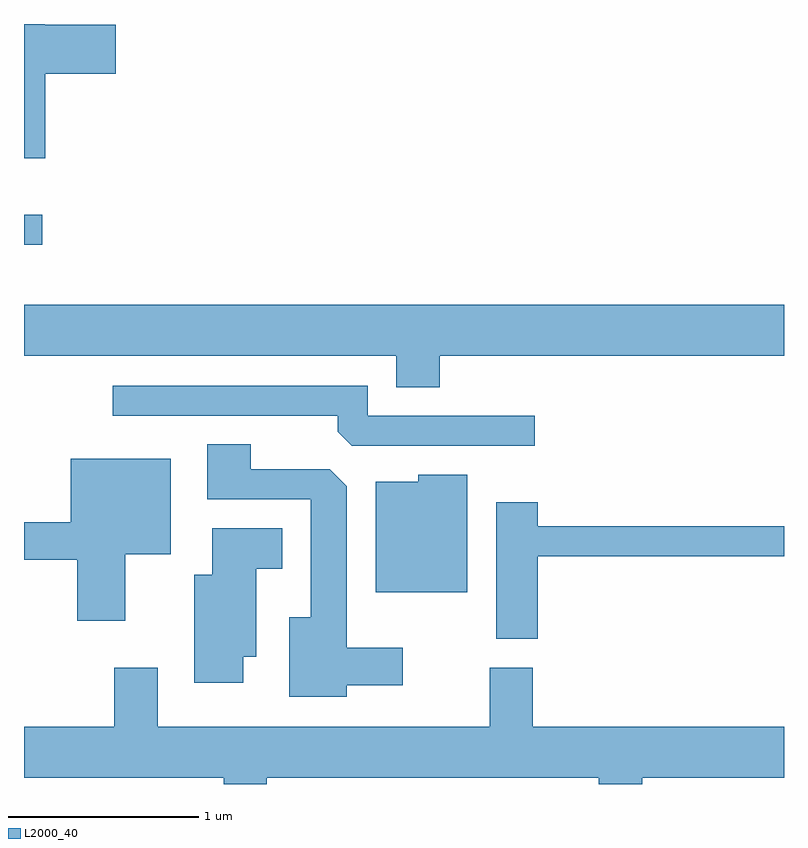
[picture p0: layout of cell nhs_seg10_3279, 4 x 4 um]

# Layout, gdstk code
import gdstk
lib = gdstk.Library(unit=1e-6, precision=1e-09)
def R(c, l, rs):  # rectangles x0, y0, x1, y1
    for r in rs: c.add(gdstk.rectangle(r[:2], r[2:], *l))
def P(c, l, *ps):  # polygons
    for p in ps: c.add(gdstk.Polygon(p, *l))
L2000_40 = (2000, 40)

nhs_seg10_3279 = lib.new_cell('nhs_seg10_3279')
R(nhs_seg10_3279, L2000_40, [(281.611,2143.361,281.708,2143.519)])
P(nhs_seg10_3279, L2000_40, [(281.724,2144.261),(282.094,2144.261),(282.094,2144.519),(281.72,2144.519),(281.72,2144.522),(281.611,2144.522),(281.611,2143.816),(281.724,2143.816)],
  [(283.799,2142.776),(285.611,2142.776),(285.611,2143.044),(281.611,2143.044),(281.611,2142.776),(283.571,2142.776),(283.571,2142.611),(283.799,2142.611)],
  [(284.298,2142.459),(283.419,2142.459),(283.419,2142.619),(282.078,2142.619),(282.078,2142.461),(283.261,2142.461),(283.261,2142.377),(283.337,2142.301),(284.298,2142.301)],
  [(283.309,2141.041),(283.604,2141.041),(283.604,2141.239),(283.309,2141.239),(283.309,2142.089),(283.219,2142.179),(282.804,2142.179),(282.804,2142.309),(282.576,2142.309),(282.576,2142.021),(283.121,2142.021),(283.121,2141.399),(283.006,2141.399),(283.006,2140.981),(283.309,2140.981)],
  [(282.144,2141.731),(282.384,2141.731),(282.384,2142.234),(281.856,2142.234),(281.856,2141.899),(281.611,2141.899),(281.611,2141.701),(281.891,2141.701),(281.891,2141.381),(282.144,2141.381)],
  [(283.944,2142.149),(283.686,2142.149),(283.686,2142.114),(283.461,2142.114),(283.461,2141.531),(283.944,2141.531)],
  [(284.314,2141.721),(285.611,2141.721),(285.611,2141.879),(284.314,2141.879),(284.314,2142.004),(284.096,2142.004),(284.096,2141.286),(284.314,2141.286)],
  [(282.764,2141.191),(282.834,2141.191),(282.834,2141.656),(282.969,2141.656),(282.969,2141.869),(282.601,2141.869),(282.601,2141.624),(282.506,2141.624),(282.506,2141.056),(282.764,2141.056)],
  [(282.889,2140.556),(284.636,2140.556),(284.636,2140.522),(284.864,2140.522),(284.864,2140.556),(285.611,2140.556),(285.611,2140.824),(284.289,2140.824),(284.289,2141.134),(284.061,2141.134),(284.061,2140.824),(282.314,2140.824),(282.314,2141.134),(282.086,2141.134),(282.086,2140.824),(281.611,2140.824),(281.611,2140.556),(282.661,2140.556),(282.661,2140.522),(282.889,2140.522)])

lib.write_gds('nhs_seg10_3279.gds')
